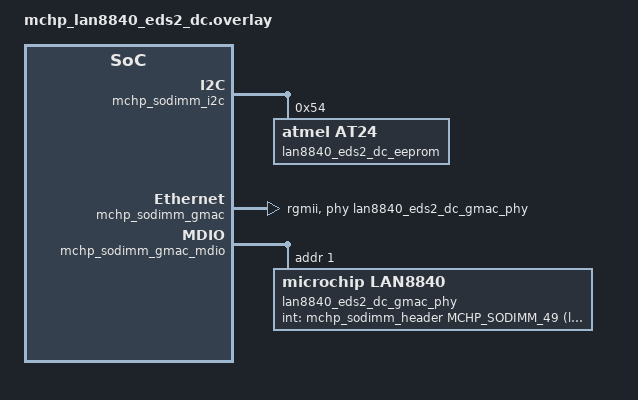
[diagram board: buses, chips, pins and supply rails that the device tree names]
/*
 * Copyright (C) 2026 Microchip Technology Inc.
 *
 * SPDX-License-Identifier: Apache-2.0
 *
 */

#include <zephyr/dt-bindings/gpio/microchip-sodimm-connector.h>

&mchp_sodimm_i2c {
	lan8840_eds2_dc_eeprom: eeprom@54 {
		compatible = "atmel,at24";
		reg = <0x54>;
		address-width = <8>;
		pagesize = <16>;
		size = <128>;
		timeout = <5>;
		status = "okay";
	};
};

&mchp_sodimm_gmac {
	status = "okay";
	pinctrl-0 = <&mchp_sodimm_pinctrl_rgmii_default>;
	pinctrl-names = "default";
	phy-connection-type = "rgmii";
	phy-handle = <&lan8840_eds2_dc_gmac_phy>;

	zephyr,random-mac-address;
};

&mchp_sodimm_gmac_mdio {
	status = "okay";

	lan8840_eds2_dc_gmac_phy: ethernet-phy@1 {
		compatible = "microchip,lan8840";
		int-gpios = <&mchp_sodimm_header MCHP_SODIMM_49 GPIO_ACTIVE_LOW>;
		microchip,rgmii-delay = "id";
		reg = <1>;
		status = "okay";
	};
};
